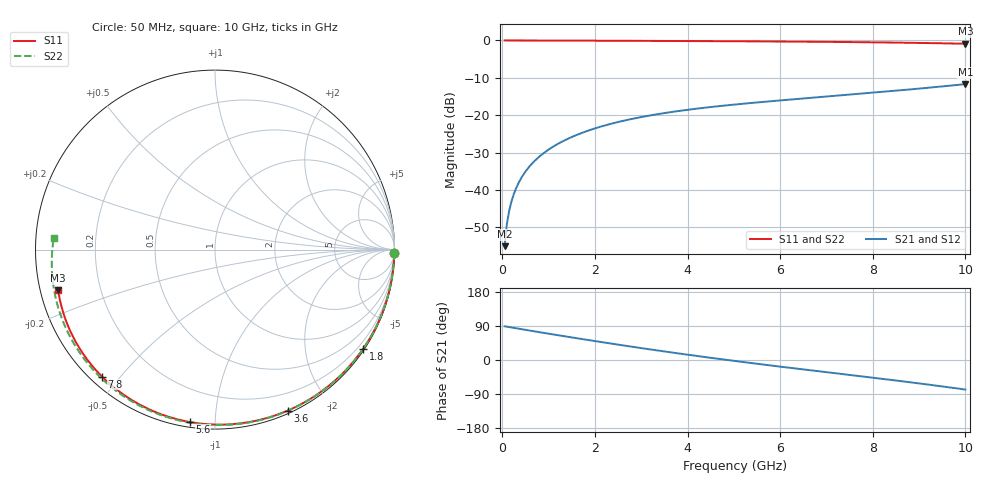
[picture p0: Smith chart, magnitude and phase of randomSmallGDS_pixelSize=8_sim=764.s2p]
! freq	dB(S11)	phase(S11)	dB(S12)	phase(S12)
!  dB(S21)	phase(S21)	dB(S22)	phase(S22)
!S-par simulation data
#  GHz  S  DB  R 50
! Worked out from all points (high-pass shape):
!   200 points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, 50 MHz to 10 GHz, reference 50 ohm
!   highest |S21| = -11.69 dB at 10 GHz (marker M1); lowest = -55.0 dB at 50 MHz (marker M2)
!   |S21| within 3 dB of the highest: 7.334 GHz to end of sweep
!   lowest |S11| = -0.9 dB at 10 GHz (marker M3), VSWR 19.58, Z = 2.59 - j6.34 ohm
!   |S11| at or under -10 dB: nowhere
!   |S22| runs from -0.9 to 0.0 dB; largest |S21 - S12| = 0
!   S11 on the Smith chart (normalised r, x): 50 MHz: open; 1.8 GHz: 0.04, -3.28; 3.6 GHz: 0.03, -1.55; 5.6 GHz: 0.03, -0.87; 7.8 GHz: 0.03, -0.45; 10 GHz: 0.05, -0.13
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0.05  -0.01 -1.0  -55.02 88.9  -55.02 88.9  -0.01 -1.1
0.1  -0.01 -1.9  -49.00 87.9  -49.00 87.9  -0.01 -2.2
0.15  -0.01 -2.9  -45.48 86.8  -45.48 86.8  -0.01 -3.2
0.2  -0.01 -3.8  -42.99 85.8  -42.99 85.8  -0.01 -4.3
0.35  -0.01 -6.7  -38.15 82.6  -38.15 82.6  -0.01 -7.6
0.5  -0.01 -9.6  -35.08 79.5  -35.08 79.5  -0.02 -10.8
0.7  -0.02 -13.4  -32.20 75.4  -32.20 75.4  -0.02 -15.1
1  -0.03 -19.0  -29.18 69.4  -29.18 69.4  -0.03 -21.5
1.35  -0.04 -25.6  -26.69 62.5  -26.69 62.5  -0.04 -28.9
1.75  -0.06 -33.0  -24.58 54.7  -24.58 54.7  -0.06 -37.2
1.8  -0.06 -33.9  -24.36 53.8  -24.36 53.8  -0.06 -38.2
2.6  -0.09 -48.4  -21.53 38.7  -21.53 38.7  -0.10 -54.4
3.4  -0.13 -62.3  -19.63 24.3  -19.63 24.3  -0.14 -69.9
3.6  -0.14 -65.8  -19.24 20.8  -19.24 20.8  -0.15 -73.7
4.3  -0.17 -77.5  -18.10 9.0  -18.10 9.0  -0.19 -86.6
5.05  -0.22 -89.6  -17.10 -3.0  -17.10 -3.0  -0.23 -99.9
5.6  -0.26 -98.3  -16.47 -11.5  -16.47 -11.5  -0.27 -109.4
6.7  -0.35 -115.1  -15.33 -27.8  -15.33 -27.8  -0.37 -127.9
7.8  -0.47 -131.6  -14.20 -43.7  -14.20 -43.7  -0.49 -146.1
8.35  -0.55 -139.9  -13.61 -51.9  -13.61 -51.9  -0.57 -155.3
9.2  -0.70 -152.9  -12.65 -64.9  -12.65 -64.9  -0.73 -169.8
10  -0.89 -165.5  -11.69 -78.0  -11.69 -78.0  -0.91 175.8
